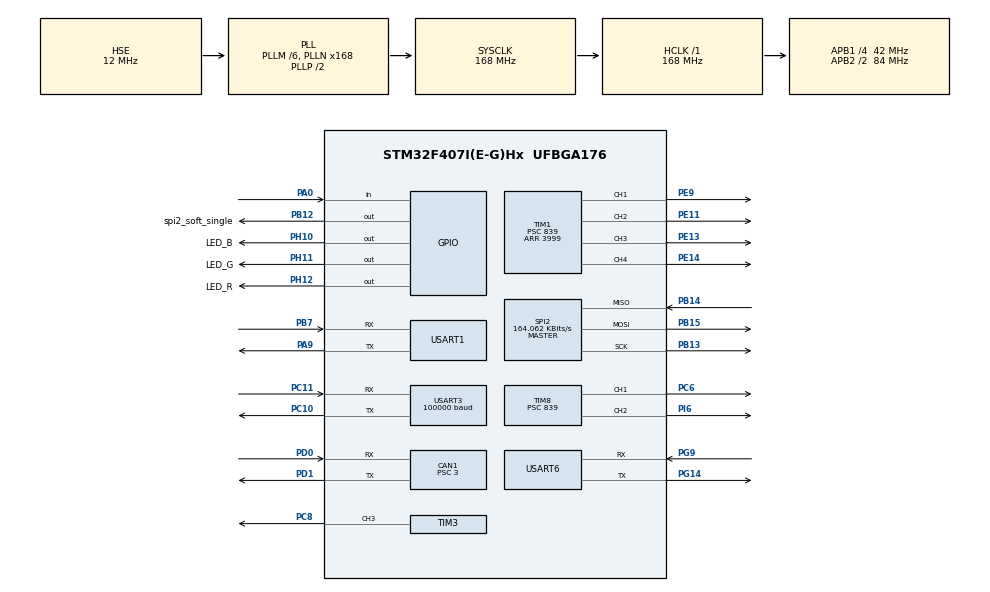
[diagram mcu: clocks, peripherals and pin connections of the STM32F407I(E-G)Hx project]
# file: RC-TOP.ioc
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CAN1.BS1=CAN_BS1_10TQ
CAN1.BS2=CAN_BS2_3TQ
CAN1.CalculateBaudRate=1000000
CAN1.CalculateTimeBit=1000
CAN1.CalculateTimeQuantum=71.42857142857143
CAN1.Prescaler=3
Mcu.Family=STM32F4
Mcu.Name=STM32F407I(E-G)Hx
Mcu.Package=UFBGA176
NVIC.CAN1_RX0_IRQn=true\:0\:0\:false\:false\:true\:true\:true
NVIC.PriorityGroup=NVIC_PRIORITYGROUP_4
NVIC.TIM2_IRQn=true\:0\:0\:false\:false\:true\:true\:true
NVIC.USART1_IRQn=true\:0\:0\:false\:false\:true\:true\:true
NVIC.USART3_IRQn=true\:0\:0\:false\:false\:true\:true\:true
NVIC.USART6_IRQn=true\:0\:0\:false\:false\:true\:true\:true
PA0-WKUP.GPIO_PuPd=GPIO_PULLUP
PA0-WKUP.Signal=GPIO_Input
PA13.Mode=Serial_Wire
PA13.Signal=SYS_JTMS-SWDIO
PA14.Mode=Serial_Wire
PA14.Signal=SYS_JTCK-SWCLK
PA9.Mode=Asynchronous
PA9.Signal=USART1_TX
PB12.GPIO_Label=spi2_soft_single
PB12.GPIO_ModeDefaultOutputPP=GPIO_MODE_OUTPUT_PP
PB12.GPIO_PuPd=GPIO_PULLUP
PB12.GPIO_Speed=GPIO_SPEED_FREQ_HIGH
PB12.PinState=GPIO_PIN_SET
PB12.Signal=GPIO_Output
PB13.GPIO_PuPd=GPIO_PULLUP
PB13.Mode=Full_Duplex_Master
PB13.Signal=SPI2_SCK
PB14.GPIO_PuPd=GPIO_PULLUP
PB14.Mode=Full_Duplex_Master
PB14.Signal=SPI2_MISO
PB15.GPIO_PuPd=GPIO_PULLUP
PB15.Mode=Full_Duplex_Master
PB15.Signal=SPI2_MOSI
PB7.Mode=Asynchronous
PB7.Signal=USART1_RX
PC10.Mode=Asynchronous
PC10.Signal=USART3_TX
PC11.Mode=Asynchronous
PC11.Signal=USART3_RX
PC6.Signal=S_TIM8_CH1
PC8.Signal=S_TIM3_CH3
PD0.Mode=CAN_Activate
PD0.Signal=CAN1_RX
PD1.Mode=CAN_Activate
PD1.Signal=CAN1_TX
PE11.Signal=S_TIM1_CH2
PE13.Signal=S_TIM1_CH3
PE14.Signal=S_TIM1_CH4
PE9.Signal=S_TIM1_CH1
PG14.Mode=Asynchronous
PG14.Signal=USART6_TX
PG9.Mode=Asynchronous
PG9.Signal=USART6_RX
PH0-OSC_IN.Mode=HSE-External-Oscillator
PH0-OSC_IN.Signal=RCC_OSC_IN
PH1-OSC_OUT.Mode=HSE-External-Oscillator
PH1-OSC_OUT.Signal=RCC_OSC_OUT
PH10.GPIO_Label=LED_B
PH10.Signal=GPIO_Output
PH11.GPIO_Label=LED_G
PH11.Signal=GPIO_Output
PH12.GPIO_Label=LED_R
PH12.Signal=GPIO_Output
PI6.Signal=S_TIM8_CH2
ProjectManager.HeapSize=0x200
ProjectManager.StackSize=0x400
ProjectManager.TargetToolchain=MDK-ARM V5.27
RCC.48MHZClocksFreq_Value=84000000
RCC.AHBFreq_Value=168000000
RCC.APB1CLKDivider=RCC_HCLK_DIV4
RCC.APB1Freq_Value=42000000
RCC.APB1TimFreq_Value=84000000
RCC.APB2CLKDivider=RCC_HCLK_DIV2
RCC.APB2Freq_Value=84000000
RCC.APB2TimFreq_Value=168000000
RCC.CortexFreq_Value=168000000
RCC.HCLKFreq_Value=168000000
RCC.HSE_VALUE=12000000
RCC.HSI_VALUE=16000000
RCC.LSE_VALUE=32768
RCC.PLLM=6
RCC.PLLN=168
RCC.PLLSourceVirtual=RCC_PLLSOURCE_HSE
RCC.SYSCLKFreq_VALUE=168000000
RCC.SYSCLKSource=RCC_SYSCLKSOURCE_PLLCLK
RCC.VCOOutputFreq_Value=336000000
SH.S_TIM1_CH1.0=TIM1_CH1,PWM Generation1 CH1
SH.S_TIM1_CH2.0=TIM1_CH2,PWM Generation2 CH2
SH.S_TIM1_CH3.0=TIM1_CH3,PWM Generation3 CH3
SH.S_TIM1_CH4.0=TIM1_CH4,PWM Generation4 CH4
SH.S_TIM3_CH3.0=TIM3_CH3,PWM Generation3 CH3
SH.S_TIM8_CH1.0=TIM8_CH1,PWM Generation1 CH1
SH.S_TIM8_CH2.0=TIM8_CH2,PWM Generation2 CH2
SPI2.BaudRatePrescaler=SPI_BAUDRATEPRESCALER_256
SPI2.CalculateBaudRate=164.062 KBits/s
SPI2.Direction=SPI_DIRECTION_2LINES
SPI2.Mode=SPI_MODE_MASTER
SPI2.VirtualType=VM_MASTER
TIM1.AutoReloadPreload=TIM_AUTORELOAD_PRELOAD_ENABLE
TIM1.Channel-PWM\ Generation1\ CH1=TIM_CHANNEL_1
TIM1.Channel-PWM\ Generation2\ CH2=TIM_CHANNEL_2
TIM1.Channel-PWM\ Generation3\ CH3=TIM_CHANNEL_3
TIM1.Channel-PWM\ Generation4\ CH4=TIM_CHANNEL_4
TIM1.Period=3999
TIM1.Prescaler=839
TIM2.AutoReloadPreload=TIM_AUTORELOAD_PRELOAD_ENABLE
TIM2.Period=167999
TIM3.AutoReloadPreload=TIM_AUTORELOAD_PRELOAD_ENABLE
TIM3.Channel-PWM\ Generation3\ CH3=TIM_CHANNEL_3
TIM3.Period=167
TIM3.Prescaler=999
TIM8.AutoReloadPreload=TIM_AUTORELOAD_PRELOAD_ENABLE
TIM8.Channel-PWM\ Generation1\ CH1=TIM_CHANNEL_1
TIM8.Channel-PWM\ Generation2\ CH2=TIM_CHANNEL_2
TIM8.Period=3999
TIM8.Prescaler=839
USART1.VirtualMode=VM_ASYNC
USART3.BaudRate=100000
USART3.Parity=PARITY_EVEN
USART3.StopBits=STOPBITS_2
USART3.VirtualMode=VM_ASYNC
USART3.WordLength=WORDLENGTH_9B
USART6.VirtualMode=VM_ASYNC
VP_TIM1_VS_ClockSourceINT.Mode=Internal
VP_TIM2_VS_ClockSourceINT.Mode=Internal
VP_TIM3_VS_ClockSourceINT.Mode=Internal
VP_TIM8_VS_ClockSourceINT.Mode=Internal
board=custom

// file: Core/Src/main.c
/* USER CODE BEGIN Header */
/**
  ******************************************************************************
  * @file           : main.c
  * @brief          : Main program body
  ******************************************************************************
  * @attention
  *
  * <h2><center>&copy; Copyright (c) 2021 STMicroelectronics.
  * All rights reserved.</center></h2>
  *
  * This software component is licensed by ST under BSD 3-Clause license,
  * the "License"; You may not use this file except in compliance with the
  * License. You may obtain a copy of the License at:
  *                        opensource.org/licenses/BSD-3-Clause
  *
  ******************************************************************************
  */
/* USER CODE END Header */
#include "main.h"
#include "can.h"
#include "spi.h"
#include "tim.h"
#include "usart.h"
#include "gpio.h"

/* USER CODE BEGIN Includes */
#include "bsp_can.h"
#include "pid.h"
#include "stdlib.h"
#include "math.h"
/* USER CODE END Includes */

/* USER CODE BEGIN PV */
#define drawer_kp 0.02
#define drawer_ki 0.1
#define drawer_kd 3
#define drawer_out 3000
#define drawer_iout 300

#define M2006_S_KP 8.0f
#define M2006_S_KI 0.1f
#define M2006_S_KD 0.0f
#define M2006_S_OUT	3000.0f
#define M2006_S_IOUT 2000.0f

#define M2006_P_KP 0.5f
#define M2006_P_KI 0.0f
#define M2006_P_KD 0.5f
#define M2006_P_OUT	4000.0f
#define M2006_P_IOUT 2000.0f

/* USER CODE END PV */

void SystemClock_Config(void);
/* USER CODE BEGIN PFP */
uint8_t grab_flag=0;
uint8_t indata[1];
uint8_t SBUS_in[25];
int num=0;
int flag=0;
uint16_t ch[16];
void SBUS_intoCH(void){
ch[0]  = ((SBUS_in[1]|SBUS_in[2]<<8)                      & 0x07FF);
ch[1]  = ((SBUS_in[2]>>3 |SBUS_in[3]<<5)                 & 0x07FF);
ch[2]  = ((SBUS_in[3]>>6 |SBUS_in[4]<<2 |SBUS_in[5]<<10)  & 0x07FF);
ch[3]  = ((SBUS_in[5]>>1 |SBUS_in[6]<<7)                 & 0x07FF);
ch[4]  = ((SBUS_in[6]>>4 |SBUS_in[7]<<4)                 & 0x07FF);
ch[5]  = ((SBUS_in[7]>>7 |SBUS_in[8]<<1 |SBUS_in[9]<<9)   & 0x07FF);
ch[6]  = ((SBUS_in[9]>>2 |SBUS_in[10]<<6)                & 0x07FF);
ch[7]  = ((SBUS_in[10]>>5|SBUS_in[11]<<3)                & 0x07FF);
ch[8]  = ((SBUS_in[12]   |SBUS_in[13]<<8)                & 0x07FF);
ch[9]  = ((SBUS_in[13]>>3|SBUS_in[14]<<5)                & 0x07FF);
ch[10] = ((SBUS_in[14]>>6|SBUS_in[15]<<2|SBUS_in[16]<<10) & 0x07FF);
ch[11] = ((SBUS_in[16]>>1|SBUS_in[17]<<7)                & 0x07FF);
ch[12] = ((SBUS_in[17]>>4|SBUS_in[18]<<4)                & 0x07FF);
ch[13] = ((SBUS_in[18]>>7|SBUS_in[19]<<1|SBUS_in[20]<<9)  & 0x07FF);
ch[14] = ((SBUS_in[20]>>2|SBUS_in[21]<<6)                & 0x07FF);
ch[15] = ((SBUS_in[21]>>5|SBUS_in[22]<<3)                & 0x07FF);
}
/* USER CODE END PFP */

/* USER CODE BEGIN 0 */
extern pid_type_def m2006_speed;
extern pid_type_def m2006_pos;
int16_t com1,com2;
uint16_t pwm_val_1=0;
uint16_t pwm_val_2=0;
uint16_t pwm_val_3=0;
uint16_t rabbit_1=0;
uint16_t rabbit_2=0;
void roll(void);
void grab(void);
void ring(void);
void send_to_hcc(void);
void win(void);
uint8_t QRCode[1];
uint8_t cam_info[5];
uint8_t mode[1];
int QRok=0;
uint8_t led_counter=0;
int get=0;
int cam_py=0;
int mode_f=0;
extern int16_t communicate[3];
uint8_t spi_tx_buff[3]={0xAA,0x11,0xAA};
uint8_t spi_rx_buff[3]={0};

int drawer_distance_set=0;
pid_type_def drawer_pid,cam_pid;

void drawer_delay()
{
	while(abs(drawer_distance_set-motor_measure_chassis[0].code)>4000){
		HAL_Delay(1);
	}
}

void controller()
{
	if(ch[1]<600)
		{
			rabbit_1=150;
			rabbit_2=380;
		}
		else if(ch[1]>1600)
		{
			rabbit_1=350;
			rabbit_2=230;
		}
		else
		{
			rabbit_1=(ch[1]-600)/5+150;
			rabbit_2=380-(ch[1]-600)*3/20;
		}
		if(ch[4]>1000)
		{
			grab();
			while(ch[4]>1000)
			{
				HAL_Delay(1);
			}
		}
		if(ch[5]>1000)
		{
			roll();
			while(ch[5]>1000)
			{
				HAL_Delay(1);
			}
		}
		if(ch[2]>=600&&ch[2]<=1600)
		{
			drawer_distance_set=(ch[2]-600)*320;
		}
		else if(ch[2]<600)
		{
			drawer_distance_set=0;
		}
		else if(ch[2]>1600)
		{
			drawer_distance_set=320000;
		}
}
void discode()
{
	for(int i=0;i<3;++i)
	{
		if((spi_rx_buff[i]&0xf0)==0xf0)
		{

		}
		else if((spi_rx_buff[i]&0xf0)==0x90)
		{

		}
		else if((spi_rx_buff[i]&0xf0)==0x60)
		{

		}
	}
}
/* USER CODE END 0 */

int main(void)
{

  /* MCU Configuration--------------------------------------------------------*/

  /* Reset of all peripherals, Initializes the Flash interface and the Systick. */
  HAL_Init();

  /* Configure the system clock */
  SystemClock_Config();

  /* Initialize all configured peripherals */
  MX_GPIO_Init();
  MX_TIM1_Init();
  MX_USART1_UART_Init();
  MX_USART6_UART_Init();
  MX_TIM2_Init();
  MX_CAN1_Init();
  MX_SPI2_Init();
  MX_TIM3_Init();
  MX_USART3_UART_Init();
  MX_TIM8_Init();
  /* USER CODE BEGIN 2 */
	{
		float pid[3]={M2006_P_KP, M2006_P_KI, M2006_P_KD};
		PID_init(&m2006_pos, PID_POSITION, pid, M2006_P_OUT, M2006_P_IOUT);
	}
	{
		float pid[3]={M2006_S_KP, M2006_S_KI, M2006_S_KD};
		PID_init(&m2006_speed, PID_POSITION, pid, M2006_S_OUT, M2006_S_IOUT);
	}
	can_filter_init();//start
//	float pid_cam[3]={1,0,0};
//	PID_init(&drawer_pid,PID_POSITION,pid,drawer_out,drawer_iout);//pid init
//	PID_init(&cam_pid,PID_POSITION,pid_cam,300000,100000);//pid init

	HAL_TIM_Base_Start_IT(&htim2);
	HAL_TIM_PWM_Start(&htim1,TIM_CHANNEL_1);//210-430
	HAL_TIM_PWM_Start(&htim1,TIM_CHANNEL_2);//100--200
	HAL_TIM_PWM_Start(&htim1,TIM_CHANNEL_3);//231->1 -- 460->2
	HAL_TIM_PWM_Start(&htim3,TIM_CHANNEL_3);
	HAL_TIM_PWM_Start(&htim8,TIM_CHANNEL_1);
	HAL_TIM_PWM_Start(&htim8,TIM_CHANNEL_2);
//	__HAL_TIM_SetCompare(&htim1, TIM_CHANNEL_1, 450);
//	__HAL_TIM_SetCompare(&htim1, TIM_CHANNEL_2, 140);
//	__HAL_TIM_SetCompare(&htim1, TIM_CHANNEL_3, 175);
	__HAL_TIM_SetCompare(&htim3, TIM_CHANNEL_3, 200);
	HAL_UART_Receive_IT(&huart1, QRCode, sizeof(QRCode));
	HAL_UART_Receive_IT(&huart6, cam_info, sizeof(cam_info));
	HAL_UART_Receive_IT(&huart3,SBUS_in, 25);
	//__HAL_TIM_SetCompare(&htim1, TIM_CHANNEL_2, pwm_val);
	//HAL_Delay(1000);
  /* USER CODE END 2 */

  /* Infinite loop */
  /* USER CODE BEGIN WHILE */
//	while(1){
//		CAN_CMD_Communicate(123, 123, 123);
//		if(grab_flag==1){
//			__HAL_TIM_SetCompare(&htim1, TIM_CHANNEL_3, 330);
//			HAL_Delay(300);
//			__HAL_TIM_SetCompare(&htim1, TIM_CHANNEL_1, 120);
//			HAL_Delay(500);
//			__HAL_TIM_SetCompare(&htim1, TIM_CHANNEL_2, 230);
//			HAL_Delay(300);
//			__HAL_TIM_SetCompare(&htim1, TIM_CHANNEL_3, 241);
//			HAL_Delay(100);
//			__HAL_TIM_SetCompare(&htim1, TIM_CHANNEL_3, 231);
//			HAL_Delay(600);
//			__HAL_TIM_SetCompare(&htim1, TIM_CHANNEL_2, 190);
//			HAL_Delay(300);
//			__HAL_TIM_SetCompare(&htim1, TIM_CHANNEL_3, 460);
//			HAL_Delay(700);
//			__HAL_TIM_SetCompare(&htim1, TIM_CHANNEL_1, 160);
//			HAL_Delay(200);
//			__HAL_TIM_SetCompare(&htim1, TIM_CHANNEL_2, 385);
//			HAL_Delay(500);
//			__HAL_TIM_SetCompare(&htim1, TIM_CHANNEL_1, 300);
//			HAL_Delay(500);
//			__HAL_TIM_SetCompare(&htim1, TIM_CHANNEL_3, 231);
//			__HAL_TIM_SetCompare(&htim1, TIM_CHANNEL_1, 420);
//			HAL_Delay(300);
//		}
//		HAL_Delay(10);
//	}
//	while(1){
//
//	__HAL_TIM_SetCompare(&htim1, TIM_CHANNEL_3, pwm_val_3);
//	HAL_Delay(10);
//	}
	int t=0;
	while(HAL_GPIO_ReadPin(GPIOA,GPIO_PIN_0)){t++;HAL_Delay(1);}
	HAL_Delay(400);
	CAN_CMD_Communicate(233, 0, 0);
	while(communicate[0]!=123){t++;HAL_Delay(1);if(communicate[0]==123)break;}
	//communicate[0]=123;
	//mode[0]=-1;
  while (1)
  {
//		HAL_Delay(100);
		if(communicate[0]==1){mode[0]=2;HAL_Delay(200);}
		else if(communicate[0]==2){mode[0]=1;}
		else if(communicate[0]==0)mode[0]=0;
		else if(communicate[0]==3)win();
		else if(communicate[0]==4){
			mode[0]=1;
			mode_f=1;
			if(flag==0){
			drawer_distance_set=120000;
			HAL_Delay(400);
			__HAL_TIM_SetCompare(&htim1, TIM_CHANNEL_3, 230);
						__HAL_TIM_SetCompare(&htim1, TIM_CHANNEL_2, 320);
						__HAL_TIM_SetCompare(&htim1, TIM_CHANNEL_1, 420);
			HAL_Delay(400);
			flag=1;}
		}
		if(mode[0]==0){drawer_distance_set=50000;HAL_Delay(200);__HAL_TIM_SetCompare(&htim1, TIM_CHANNEL_3, 370);__HAL_TIM_SetCompare(&htim1, TIM_CHANNEL_1, 470);
					__HAL_TIM_SetCompare(&htim1, TIM_CHANNEL_2, 425);}
		//HAL_Delay(10);
		//send_to_hcc();
//		__HAL_TIM_SetCompare(&htim1, TIM_CHANNEL_1, pwm_val_1);

//		__HAL_TIM_SetCompare(&htim1, TIM_CHANNEL_2, pwm_val_2);
//		__HAL_TIM_SetCompare(&htim1, TIM_CHANNEL_3, pwm_val_3);
//		__HAL_TIM_SetCompare(&htim8, TIM_CHANNEL_1, rabbit_1);
//		__HAL_TIM_SetCompare(&htim8, TIM_CHANNEL_2, rabbit_2);
		if(get==1)grab();
		get=0;
		if(ch[0])controller();
		else{
			if(mode[0]!=cam_info[1])
				HAL_UART_Transmit(&huart6,mode,sizeof(mode),1000);
			else
			{
				if(mode[0]==1)
				{
					if(mode_f==0){
						__HAL_TIM_SetCompare(&htim1, TIM_CHANNEL_3, 231);
						__HAL_TIM_SetCompare(&htim1, TIM_CHANNEL_1, 490);
						__HAL_TIM_SetCompare(&htim1, TIM_CHANNEL_2, 380);
						drawer_distance_set=210000;
						drawer_delay();
						if(cam_info[2]==1){
							if(cam_info[3]<17){
								CAN_CMD_Communicate(1, 0, 0);
								int ax=0;
								while(ax<1500&&(cam_info[4]-120>15||cam_info[4]-120<-15)){
									drawer_distance_set+=(cam_info[4]-120)*10;
									drawer_distance_set=drawer_distance_set<50000 ?  50000 :drawer_distance_set;
									drawer_distance_set=drawer_distance_set>320000 ?  320000 :drawer_distance_set;
									HAL_Delay(1);
									ax++;
								}
								__HAL_TIM_SetCompare(&htim1, TIM_CHANNEL_3, 330);
								HAL_Delay(300);
								__HAL_TIM_SetCompare(&htim1, TIM_CHANNEL_2, 230);
								HAL_Delay(300);
								__HAL_TIM_SetCompare(&htim1, TIM_CHANNEL_3, 250);
								HAL_Delay(100);
								__HAL_TIM_SetCompare(&htim1, TIM_CHANNEL_3, 245);
								HAL_Delay(200);
								__HAL_TIM_SetCompare(&htim1, TIM_CHANNEL_3, 236);
								HAL_Delay(300);
								__HAL_TIM_SetCompare(&htim1, TIM_CHANNEL_2, 190);
								HAL_Delay(300);
								__HAL_TIM_SetCompare(&htim1, TIM_CHANNEL_3, 330);
								HAL_Delay(200);
								drawer_distance_set=60000;
								drawer_delay();
								HAL_Delay(800);
								__HAL_TIM_SetCompare(&htim1, TIM_CHANNEL_3, 233);
								HAL_Delay(500);
								__HAL_TIM_SetCompare(&htim1, TIM_CHANNEL_2, 380);
								HAL_Delay(200);
								drawer_distance_set=210000;
								drawer_delay();
								HAL_Delay(200);
								CAN_CMD_Communicate(0, 0, 0);
								HAL_Delay(300);
							}
						}
					}
					else{
						drawer_distance_set=120000;
						drawer_delay();
						__HAL_TIM_SetCompare(&htim1, TIM_CHANNEL_3, 230);
						__HAL_TIM_SetCompare(&htim1, TIM_CHANNEL_2, 320);
						__HAL_TIM_SetCompare(&htim1, TIM_CHANNEL_1, 420);
						if(cam_info[2]==1||cam_info[2]==2)
						{
							if(cam_info[3]<50){
								if(cam_info[2]==1){
									CAN_CMD_Communicate(0, 0, 0);
								}
								if(cam_info[2]==2){
									CAN_CMD_Communicate(0, 1, 0);
								}
								roll();
							}
						}
					}
				}
				else if(mode[0]==2)
				{
					drawer_distance_set=300000;
					drawer_delay();
					__HAL_TIM_SetCompare(&htim1, TIM_CHANNEL_3, 236);
					__HAL_TIM_SetCompare(&htim1, TIM_CHANNEL_1, 490);
					__HAL_TIM_SetCompare(&htim1, TIM_CHANNEL_2, 425);
					if(cam_info[2]==1)
					{
						if(cam_info[3]<15){
							CAN_CMD_Communicate(1, 0, 0);
							int ax=0;
							while(!communicate[1]){
								ax++;
								HAL_Delay(1);if(ax>2000)break;
							}
							ax=0;
								while(ax<1000&&(cam_info[4]-122>15||cam_info[4]-122<-15)){
									drawer_distance_set+=(cam_info[4]-120)*100;
//									drawer_distance_set+=(cam_info[4]-120)*30;
									drawer_distance_set=drawer_distance_set<50000 ?  50000 :drawer_distance_set;
									drawer_distance_set=drawer_distance_set>320000 ?  320000 :drawer_distance_set;
									drawer_delay ();
									HAL_Delay(1);
									ax++;
								}
							grab();
							CAN_CMD_Communicate(0, 0, 0);
							HAL_Delay(200);
						}
						//HAL_Delay(200);
					}
					else if(cam_info[2]==2)
					{
						if(cam_info[3]<15){
							CAN_CMD_Communicate(1, 0, 0);
							int ax=0;
							while(ax<2000&&(cam_info[4]-118>15||cam_info[4]-118<-15)){
									drawer_distance_set+=(cam_info[4]-120)*100;
//									drawer_distance_set+=(cam_info[4]-120)*30;
									drawer_distance_set=drawer_distance_set<10000 ?  10000 :drawer_distance_set;
									drawer_distance_set=drawer_distance_set>320000 ?  320000 :drawer_distance_set;
									drawer_delay ();
									HAL_Delay(1);
									ax++;
								}
							ring();
							CAN_CMD_Communicate(0, 0, 0);
						}

					}
					else if(cam_info[2]==3&&cam_info[3]<11)
					{
						if(QRok==1){CAN_CMD_Communicate(1, 0, 0); grab();CAN_CMD_Communicate(0, 0, 0);}
						else{
							CAN_CMD_Communicate(1, 0, 0);
							int ax=0;
							while(!communicate[1]){
								ax++;
								HAL_Delay(1);if(ax>2000)break;
							}
							ax=1000;
							while(ax--){
								HAL_Delay(1);
								if(QRok==1){grab();break;}
								if(cam_info[2]==1){grab();break;}
							}
							CAN_CMD_Communicate(0, 0, 0);
						}
						QRok=0;
						HAL_Delay(1000);
					}
				}
			}

		}
    /* USER CODE END WHILE */

  }
}

void SystemClock_Config(void)
{
  RCC_OscInitTypeDef RCC_OscInitStruct = {0};
  RCC_ClkInitTypeDef RCC_ClkInitStruct = {0};

  /** Configure the main internal regulator output voltage
  */
  __HAL_RCC_PWR_CLK_ENABLE();
  __HAL_PWR_VOLTAGESCALING_CONFIG(PWR_REGULATOR_VOLTAGE_SCALE1);
  /** Initializes the RCC Oscillators according to the specified parameters
  * in the RCC_OscInitTypeDef structure.
  */
  RCC_OscInitStruct.OscillatorType = RCC_OSCILLATORTYPE_HSE;
  RCC_OscInitStruct.HSEState = RCC_HSE_ON;
  RCC_OscInitStruct.PLL.PLLState = RCC_PLL_ON;
  RCC_OscInitStruct.PLL.PLLSource = RCC_PLLSOURCE_HSE;
  RCC_OscInitStruct.PLL.PLLM = 6;
  RCC_OscInitStruct.PLL.PLLN = 168;
  RCC_OscInitStruct.PLL.PLLP = RCC_PLLP_DIV2;
  RCC_OscInitStruct.PLL.PLLQ = 4;
  if (HAL_RCC_OscConfig(&RCC_OscInitStruct) != HAL_OK)
  {
    Error_Handler();
  }
  /** Initializes the CPU, AHB and APB buses clocks
  */
  RCC_ClkInitStruct.ClockType = RCC_CLOCKTYPE_HCLK|RCC_CLOCKTYPE_SYSCLK
                              |RCC_CLOCKTYPE_PCLK1|RCC_CLOCKTYPE_PCLK2;
  RCC_ClkInitStruct.SYSCLKSource = RCC_SYSCLKSOURCE_PLLCLK;
  RCC_ClkInitStruct.AHBCLKDivider = RCC_SYSCLK_DIV1;
  RCC_ClkInitStruct.APB1CLKDivider = RCC_HCLK_DIV4;
  RCC_ClkInitStruct.APB2CLKDivider = RCC_HCLK_DIV2;

  if (HAL_RCC_ClockConfig(&RCC_ClkInitStruct, FLASH_LATENCY_5) != HAL_OK)
  {
    Error_Handler();
  }
}

/* USER CODE BEGIN 4 */
void HAL_TIM_PeriodElapsedCallback(TIM_HandleTypeDef *htim)
{
	if (htim == (&htim2))
	{
		switch(led_counter%2)
		{
			case 0:
				HAL_GPIO_WritePin(LED_R_GPIO_Port,LED_R_Pin,GPIO_PIN_RESET);
				HAL_GPIO_WritePin(LED_G_GPIO_Port,LED_G_Pin,GPIO_PIN_SET);
				HAL_GPIO_WritePin(LED_B_GPIO_Port,LED_B_Pin,GPIO_PIN_SET);
				break;
			case 1:
				HAL_GPIO_WritePin(LED_R_GPIO_Port,LED_R_Pin,GPIO_PIN_SET);
				HAL_GPIO_WritePin(LED_G_GPIO_Port,LED_G_Pin,GPIO_PIN_RESET);
				HAL_GPIO_WritePin(LED_B_GPIO_Port,LED_B_Pin,GPIO_PIN_SET);
				break;
			default:
				HAL_GPIO_WritePin(LED_R_GPIO_Port,LED_R_Pin,GPIO_PIN_SET);
				HAL_GPIO_WritePin(LED_G_GPIO_Port,LED_G_Pin,GPIO_PIN_SET);
				HAL_GPIO_WritePin(LED_B_GPIO_Port,LED_B_Pin,GPIO_PIN_RESET);
				//led_counter = 0;
		}
		led_counter++;
		//drawer_distance_set=PID_calc(&cam_pid,cam_py,0);
	}
}
void roll()
{
	__HAL_TIM_SetCompare(&htim1, TIM_CHANNEL_1, 330);
	drawer_distance_set=80000;
	HAL_Delay(200);
	drawer_distance_set=120000;
	__HAL_TIM_SetCompare(&htim1, TIM_CHANNEL_1, 420);
	HAL_Delay(900);
}

void grab()
{
	__HAL_TIM_SetCompare(&htim1, TIM_CHANNEL_3, 330);
	HAL_Delay(300);
	__HAL_TIM_SetCompare(&htim1, TIM_CHANNEL_1, 200);
	HAL_Delay(500);
	__HAL_TIM_SetCompare(&htim1, TIM_CHANNEL_2, 225);
	HAL_Delay(350);
	__HAL_TIM_SetCompare(&htim1, TIM_CHANNEL_3, 250);
	HAL_Delay(100);
	__HAL_TIM_SetCompare(&htim1, TIM_CHANNEL_3, 245);
	HAL_Delay(200);
	__HAL_TIM_SetCompare(&htim1, TIM_CHANNEL_3, 238);
	HAL_Delay(100);
	__HAL_TIM_SetCompare(&htim1, TIM_CHANNEL_3, 235);
	HAL_Delay(300);
	__HAL_TIM_SetCompare(&htim1, TIM_CHANNEL_2, 190);
	HAL_Delay(300);
	__HAL_TIM_SetCompare(&htim1, TIM_CHANNEL_3, 460);
	HAL_Delay(300);
	__HAL_TIM_SetCompare(&htim1, TIM_CHANNEL_1, 210);
	HAL_Delay(200);
	__HAL_TIM_SetCompare(&htim1, TIM_CHANNEL_2, 425);
	HAL_Delay(100);
	__HAL_TIM_SetCompare(&htim1, TIM_CHANNEL_1, 300);
	HAL_Delay(800);
	__HAL_TIM_SetCompare(&htim1, TIM_CHANNEL_3, 236);
	__HAL_TIM_SetCompare(&htim1, TIM_CHANNEL_1, 490);
	HAL_Delay(300);
}
int r_f=0;
void ring()
{
	r_f=1;

	int ax=0;
	while(!communicate[1]){
			ax++;
			HAL_Delay(1);if(ax>2000)break;
	}
	HAL_Delay(500);
	__HAL_TIM_SetCompare(&htim1, TIM_CHANNEL_3, 330);
	HAL_Delay(300);
	__HAL_TIM_SetCompare(&htim1, TIM_CHANNEL_1, 200);
	HAL_Delay(300);
	__HAL_TIM_SetCompare(&htim1, TIM_CHANNEL_2, 220);
	HAL_Delay(300);
	__HAL_TIM_SetCompare(&htim1, TIM_CHANNEL_3, 250);
	HAL_Delay(100);
	__HAL_TIM_SetCompare(&htim1, TIM_CHANNEL_3, 241);
	HAL_Delay(100);
	__HAL_TIM_SetCompare(&htim1, TIM_CHANNEL_3, 238);
	HAL_Delay(100);
	__HAL_TIM_SetCompare(&htim1, TIM_CHANNEL_3, 233);
	HAL_Delay(600);
	__HAL_TIM_SetCompare(&htim1, TIM_CHANNEL_2, 200);
	HAL_Delay(300);
	__HAL_TIM_SetCompare(&htim1, TIM_CHANNEL_3, 300);
	CAN_CMD_Communicate(1, 2, 0);
	while(communicate[1]!=2){
			ax++;
			HAL_Delay(1);if(ax>2000)break;
	}
	HAL_Delay(300);
	drawer_distance_set=20000;
	drawer_delay();
	HAL_Delay(500);
	__HAL_TIM_SetCompare(&htim1, TIM_CHANNEL_3, 236);
	HAL_Delay(800);
	__HAL_TIM_SetCompare(&htim1, TIM_CHANNEL_2, 425);
	HAL_Delay(300);
	__HAL_TIM_SetCompare(&htim1, TIM_CHANNEL_3, 330);
	__HAL_TIM_SetCompare(&htim1, TIM_CHANNEL_1, 470);
	drawer_distance_set=300000;
	drawer_delay();

	HAL_Delay(500);

}
void win()
{
	drawer_distance_set=0;
	drawer_delay();
	__HAL_TIM_SetCompare(&htim1, TIM_CHANNEL_3, 231);
	CAN_CMD_Communicate(1, 0, 0);
	int ax=0;
	while(communicate[1]!=2){
		ax++;
		HAL_Delay(1);if(ax>2000)break;
	}
	__HAL_TIM_SetCompare(&htim1, TIM_CHANNEL_2, 190);
	HAL_Delay(300);
	CAN_CMD_Communicate(2, 0, 0);
	HAL_Delay(500);
	drawer_distance_set=160000;
	drawer_delay();
	HAL_Delay(800);
	CAN_CMD_Communicate(3, 0, 0);
	HAL_Delay(1300);
	__HAL_TIM_SetCompare(&htim1, TIM_CHANNEL_2, 400);
	HAL_Delay(205);
	__HAL_TIM_SetCompare(&htim1, TIM_CHANNEL_3, 300);
	CAN_CMD_Communicate(0, 0, 0);
	HAL_Delay(1000);
	communicate[0]=0;
}
void HAL_UART_RxCpltCallback(UART_HandleTypeDef *huart)
{
	if(huart==&huart1)
	{
		if(QRCode[0]=='B')
		{
			QRok=1;
		}
		if(QRCode[0]=='R')
		{
			QRok=0;
		}
		HAL_UART_Receive_IT(&huart1, QRCode, sizeof(QRCode));
	}
	if(huart==&huart6)
	{
		HAL_UART_Receive_IT(&huart6, cam_info, sizeof(cam_info));
	}
	if(huart==&huart3)
	{
		SBUS_intoCH();
		HAL_UART_Receive_IT(&huart3,SBUS_in, 25);
	}

}
/* USER CODE END 4 */

void Error_Handler(void)
{
  __disable_irq();
  while (1)
  {
  }
}
